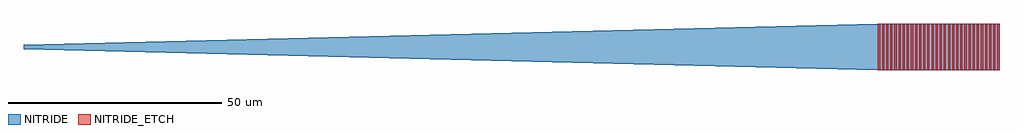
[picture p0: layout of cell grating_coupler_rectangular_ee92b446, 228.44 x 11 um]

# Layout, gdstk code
import gdstk
lib = gdstk.Library(unit=1e-6, precision=1e-09)
def R(c, l, rs):  # rectangles x0, y0, x1, y1
    for r in rs: c.add(gdstk.rectangle(r[:2], r[2:], *l))
def P(c, l, *ps):  # polygons
    for p in ps: c.add(gdstk.Polygon(p, *l))
NITRIDE = (203, 0)
NITRIDE_ETCH = (204, 0)

taper_22fbfbb5 = lib.new_cell('taper_22fbfbb5')
P(taper_22fbfbb5, NITRIDE, [(0,0.475),(200,5.5),(200,-5.5),(0,-0.475)])

compass_1982655f = lib.new_cell('compass_1982655f')
R(compass_1982655f, NITRIDE_ETCH, [(-0.241,-5.5,0.241,5.5)])

rectangle_1982655f = lib.new_cell('rectangle_1982655f')
rectangle_1982655f.add(gdstk.Reference(compass_1982655f, (0.241,5.5)))

grating_coupler_rectangu = lib.new_cell('grating_coupler_rectangular_ee92b446')
R(grating_coupler_rectangu, NITRIDE, [(200,-5.5,228.438,5.5)])
grating_coupler_rectangu.add(gdstk.Reference(taper_22fbfbb5, (0,0)))
grating_coupler_rectangu.add(gdstk.Reference(rectangle_1982655f, (200,-5.5)))
grating_coupler_rectangu.add(gdstk.Reference(rectangle_1982655f, (200.964,-5.5)))
grating_coupler_rectangu.add(gdstk.Reference(rectangle_1982655f, (201.928,-5.5)))
grating_coupler_rectangu.add(gdstk.Reference(rectangle_1982655f, (202.892,-5.5)))
grating_coupler_rectangu.add(gdstk.Reference(rectangle_1982655f, (203.856,-5.5)))
grating_coupler_rectangu.add(gdstk.Reference(rectangle_1982655f, (204.82,-5.5)))
grating_coupler_rectangu.add(gdstk.Reference(rectangle_1982655f, (205.784,-5.5)))
grating_coupler_rectangu.add(gdstk.Reference(rectangle_1982655f, (206.748,-5.5)))
grating_coupler_rectangu.add(gdstk.Reference(rectangle_1982655f, (207.712,-5.5)))
grating_coupler_rectangu.add(gdstk.Reference(rectangle_1982655f, (208.676,-5.5)))
grating_coupler_rectangu.add(gdstk.Reference(rectangle_1982655f, (209.64,-5.5)))
grating_coupler_rectangu.add(gdstk.Reference(rectangle_1982655f, (210.604,-5.5)))
grating_coupler_rectangu.add(gdstk.Reference(rectangle_1982655f, (211.568,-5.5)))
grating_coupler_rectangu.add(gdstk.Reference(rectangle_1982655f, (212.532,-5.5)))
grating_coupler_rectangu.add(gdstk.Reference(rectangle_1982655f, (213.496,-5.5)))
grating_coupler_rectangu.add(gdstk.Reference(rectangle_1982655f, (214.46,-5.5)))
grating_coupler_rectangu.add(gdstk.Reference(rectangle_1982655f, (215.424,-5.5)))
grating_coupler_rectangu.add(gdstk.Reference(rectangle_1982655f, (216.388,-5.5)))
grating_coupler_rectangu.add(gdstk.Reference(rectangle_1982655f, (217.352,-5.5)))
grating_coupler_rectangu.add(gdstk.Reference(rectangle_1982655f, (218.316,-5.5)))
grating_coupler_rectangu.add(gdstk.Reference(rectangle_1982655f, (219.28,-5.5)))
grating_coupler_rectangu.add(gdstk.Reference(rectangle_1982655f, (220.244,-5.5)))
grating_coupler_rectangu.add(gdstk.Reference(rectangle_1982655f, (221.208,-5.5)))
grating_coupler_rectangu.add(gdstk.Reference(rectangle_1982655f, (222.172,-5.5)))
grating_coupler_rectangu.add(gdstk.Reference(rectangle_1982655f, (223.136,-5.5)))
grating_coupler_rectangu.add(gdstk.Reference(rectangle_1982655f, (224.1,-5.5)))
grating_coupler_rectangu.add(gdstk.Reference(rectangle_1982655f, (225.064,-5.5)))
grating_coupler_rectangu.add(gdstk.Reference(rectangle_1982655f, (226.028,-5.5)))
grating_coupler_rectangu.add(gdstk.Reference(rectangle_1982655f, (226.992,-5.5)))
grating_coupler_rectangu.add(gdstk.Reference(rectangle_1982655f, (227.956,-5.5)))

lib.write_gds('grating_coupler_rectangular_ee92b446.gds')
